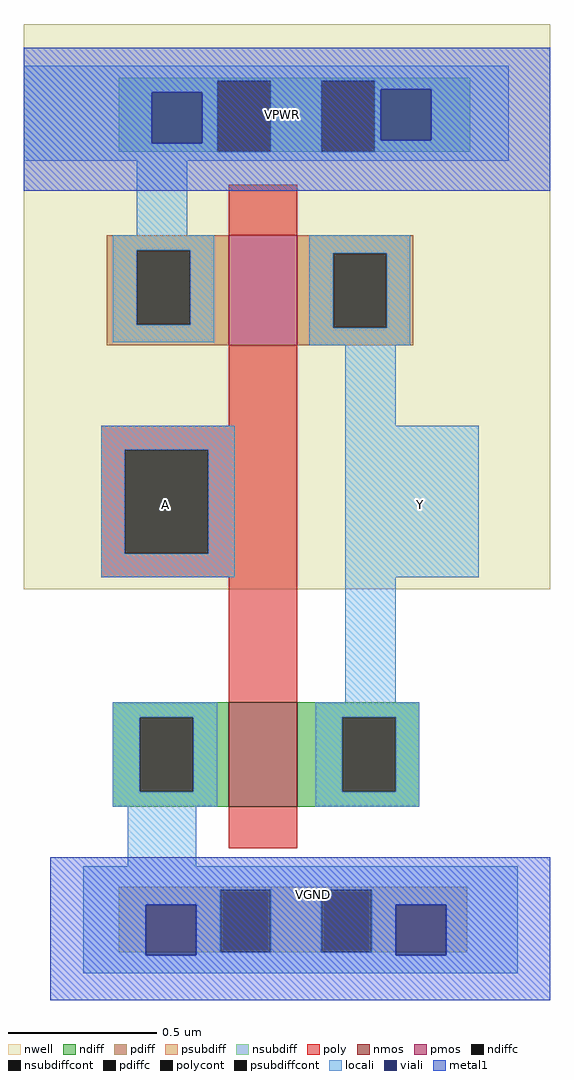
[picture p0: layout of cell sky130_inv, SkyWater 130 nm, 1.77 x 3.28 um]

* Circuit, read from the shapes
.subckt sky130_inv A Y VPWR VGND
XM1 Y A VGND VGND sky130_fd_pr__nfet_01v8 w=0.35 l=0.23
XM2 Y A VPWR VPWR sky130_fd_pr__pfet_01v8 w=0.37 l=0.23
.ends

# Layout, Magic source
magic
tech sky130A
<< nwell >>
rect -20 114 157 304
<< nmos >>
rect 49 41 72 76
<< pmos >>
rect 49 196 72 233
<< ndiff >>
rect 10 71 49 76
rect 10 46 19 71
rect 37 46 49 71
rect 10 41 49 46
rect 72 71 113 76
rect 72 46 87 71
rect 105 46 113 71
rect 72 41 113 46
<< pdiff >>
rect 8 228 49 233
rect 8 203 18 228
rect 36 203 49 228
rect 8 196 49 203
rect 72 227 111 233
rect 72 202 84 227
rect 102 202 111 227
rect 72 196 111 202
<< ndiffc >>
rect 19 46 37 71
rect 87 46 105 71
<< pdiffc >>
rect 18 203 36 228
rect 84 202 102 227
<< psubdiff >>
rect 12 13 129 14
rect 12 -8 46 13
rect 63 -8 80 13
rect 97 -8 129 13
<< nsubdiff >>
rect 12 285 130 286
rect 12 261 45 285
rect 63 261 80 285
rect 98 261 130 285
<< psubdiffcont >>
rect 46 -8 63 13
rect 80 -8 97 13
<< nsubdiffcont >>
rect 45 261 63 285
rect 80 261 98 285
<< poly >>
rect 49 233 72 250
rect 49 169 72 196
rect 6 161 72 169
rect 6 126 14 161
rect 42 126 72 161
rect 6 118 72 126
rect 49 76 72 118
rect 49 27 72 41
<< polycont >>
rect 14 126 42 161
<< locali >>
rect -20 285 143 290
rect -20 281 45 285
rect -20 264 23 281
rect 40 264 45 281
rect -20 261 45 264
rect 63 261 80 285
rect 98 282 143 285
rect 98 265 100 282
rect 117 265 143 282
rect 98 261 143 265
rect -20 258 143 261
rect 18 233 35 258
rect 10 228 44 233
rect 10 203 18 228
rect 36 203 44 228
rect 10 197 44 203
rect 76 227 110 233
rect 76 202 84 227
rect 102 202 110 227
rect 76 196 110 202
rect 88 169 105 196
rect 6 161 51 169
rect 6 126 14 161
rect 42 126 51 161
rect 6 118 51 126
rect 88 118 133 169
rect 88 76 105 118
rect 10 71 45 76
rect 10 46 19 71
rect 37 46 45 71
rect 10 41 45 46
rect 78 71 113 76
rect 78 46 87 71
rect 105 46 113 71
rect 78 41 113 46
rect 15 21 38 41
rect 0 13 146 21
rect 0 8 46 13
rect 0 -9 21 8
rect 38 -8 46 8
rect 63 -8 80 13
rect 97 8 146 13
rect 97 -8 105 8
rect 38 -9 105 -8
rect 122 -9 146 8
rect 0 -15 146 -9
<< viali >>
rect 23 264 40 281
rect 100 265 117 282
rect 21 -9 38 8
rect 105 -9 122 8
<< metal1 >>
rect -20 282 157 296
rect -20 281 100 282
rect -20 264 23 281
rect 40 265 100 281
rect 117 265 157 282
rect 40 264 157 265
rect -20 248 157 264
rect -11 8 157 24
rect -11 -9 21 8
rect 38 -9 105 8
rect 122 -9 157 8
rect -11 -24 157 -9
<< labels >>
flabel metal1 s 44 258 90 289 0 FreeSans 120 0 0 0 VPWR
port 3 nsew power bidirectional
flabel locali s 10 121 45 164 0 FreeSans 120 0 0 0 A
port 1 nsew signal input
flabel locali s 96 121 131 164 0 FreeSans 120 0 0 0 Y
port 2 nsew signal output
flabel metal1 s 50 -3 105 26 0 FreeSans 120 0 0 0 VGND
port 5 nsew ground bidirectional
<< properties >>
string LEFsite unithd
string LEFclass CORE
string FIXED_BBOX 0 0 138 272
string LEFsource USER
string LEForigin 0 0
<< end >>
